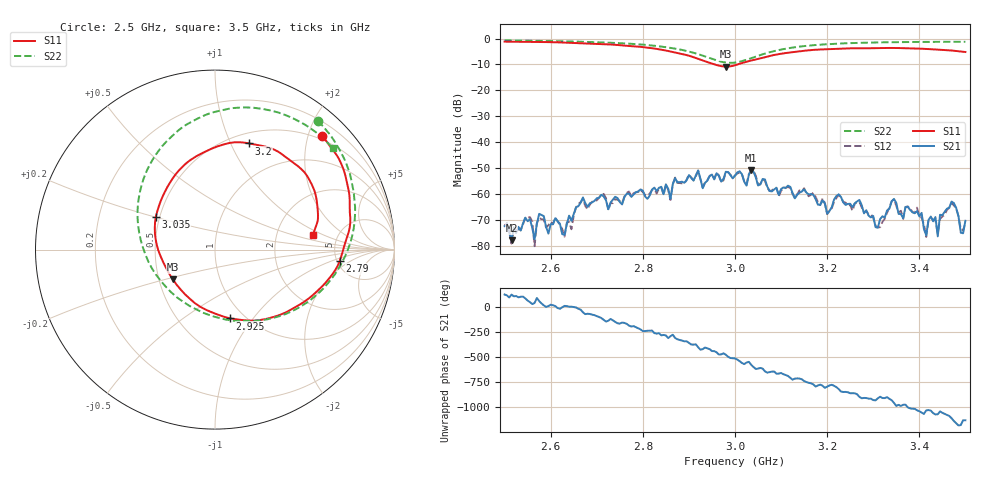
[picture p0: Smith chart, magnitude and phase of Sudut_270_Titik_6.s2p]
# Hz S RI R 50
! CMT, C1220, 16058040, 17.2.0/1
! Date: 15/08/2018 10:19:24
! Data: Format (Calibration Info)
! Freq  S11: Re/Im (F2)  S21: Re/Im (F2)  S12: Re/Im (F2)  S22: Re/Im (F2)
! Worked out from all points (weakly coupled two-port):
!   201 points, 2.5 GHz to 3.5 GHz, reference 50 ohm
!   highest |S21| = -50.76 dB at 3.035 GHz (marker M1); lowest = -77.8 dB at 2.515 GHz (marker M2)
!   lowest |S11| = -10.8 dB at 2.98 GHz (marker M3), VSWR 1.81, Z = 29.5 - j10.6 ohm
!   |S11| at or under -10 dB: 2.956 GHz to 3.005 GHz (48.85 MHz wide, 1.64 % of centre)
!   |S22| runs from -9.4 to -0.7 dB; largest |S21 - S12| = 0.0002
!   S11 on the Smith chart (normalised r, x): 2.5 GHz: 0.43, +2.24; 2.79 GHz: 5.28, -1.30; 2.925 GHz: 0.86, -0.78; 3.035 GHz: 0.48, +0.20; 3.2 GHz: 0.61, +1.18; 3.5 GHz: 3.25, +0.75
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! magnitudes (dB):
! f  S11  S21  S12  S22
! 2.5 GHz  -1.2  -72.3  -72.1  -0.7
! 2.515 GHz  -1.2  -77.8  -79.1  -0.8
! 2.545 GHz  -1.3  -69.1  -68.9  -0.8
! 2.565 GHz  -1.3  -77.5  -80.1  -0.9
! 2.575 GHz  -1.3  -67.6  -69.0  -0.9
! 2.63 GHz  -1.6  -75.6  -76.4  -1.1
! 2.67 GHz  -1.8  -61.3  -61.7  -1.2
! 2.79 GHz  -3.1  -58.9  -59.2  -2.2
! 2.835 GHz  -4.1  -57.6  -57.8  -3.0
! 2.925 GHz  -8.1  -54.1  -54.2  -6.3
! 2.98 GHz  -10.8  -51.4  -51.7  -9.3
! 3 GHz  -10.3  -52.9  -52.9  -9.3
! 3.035 GHz  -8.5  -50.8  -50.7  -7.6
! 3.17 GHz  -4.4  -60.3  -59.5  -2.6
! 3.2 GHz  -4.1  -67.5  -67.7  -2.2
! 3.27 GHz  -3.8  -62.2  -63.0  -1.7
! 3.31 GHz  -3.7  -73.0  -72.8  -1.5
! 3.335 GHz  -3.6  -65.6  -65.1  -1.4
! 3.395 GHz  -3.8  -66.5  -65.2  -1.3
! 3.415 GHz  -4.0  -75.8  -76.5  -1.3
! 3.47 GHz  -4.6  -62.8  -63.4  -1.3
! 3.5 GHz  -5.2  -70.3  -71.1  -1.3
